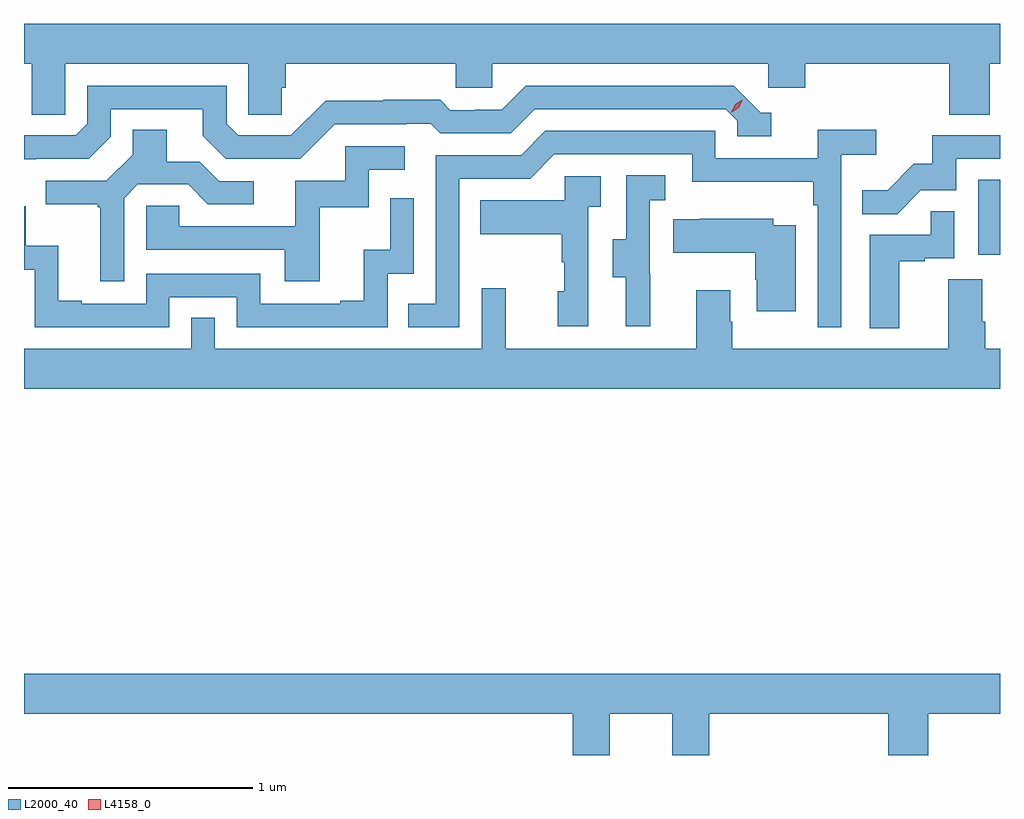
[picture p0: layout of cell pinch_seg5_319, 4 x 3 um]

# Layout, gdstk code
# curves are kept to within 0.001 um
import gdstk
lib = gdstk.Library(unit=1e-6, precision=1e-09)
def R(c, l, rs):  # rectangles x0, y0, x1, y1
    for r in rs: c.add(gdstk.rectangle(r[:2], r[2:], *l))
def P(c, l, *ps):  # polygons
    for p in ps: c.add(gdstk.Polygon(p, *l))
L2000_40 = (2000, 40)
L4158_0 = (4158, 0)

pinch_seg5_319 = lib.new_cell('pinch_seg5_319')
R(pinch_seg5_319, L2000_40, [(936.812,891.942,936.902,892.249)])
P(pinch_seg5_319, L2000_40, [(933.072,892.724),(933.822,892.724),(933.822,892.516),(933.959,892.516),(933.959,892.626),(933.974,892.626),(933.974,892.724),(934.671,892.724),(934.671,892.626),(934.821,892.626),(934.821,892.724),(935.952,892.724),(935.952,892.626),(936.104,892.626),(936.104,892.724),(936.695,892.724),(936.695,892.516),(936.86,892.516),(936.86,892.724),(936.902,892.724),(936.902,892.888),(932.902,892.888),(932.902,892.724),(932.933,892.724),(932.933,892.516),(933.072,892.516)],
  [(932.952,892.335),(933.168,892.335),(933.258,892.425),(933.258,892.539),(933.635,892.539),(933.635,892.429),(933.729,892.335),(934.035,892.335),(934.176,892.476),(934.469,892.476),(934.469,892.479),(934.568,892.479),(934.607,892.44),(934.896,892.44),(934.995,892.539),(935.778,892.539),(935.826,892.491),(935.826,892.428),(935.965,892.428),(935.965,892.524),(935.922,892.524),(935.811,892.635),(934.958,892.635),(934.859,892.536),(934.752,892.536),(934.752,892.533),(934.649,892.533),(934.607,892.576),(934.374,892.576),(934.374,892.573),(934.138,892.573),(933.996,892.431),(933.78,892.431),(933.732,892.479),(933.732,892.635),(933.162,892.635),(933.162,892.479),(933.114,892.431),(932.902,892.431),(932.902,892.334)],
  [(933.312,892.173),(933.369,892.23),(933.575,892.23),(933.656,892.149),(933.844,892.149),(933.844,892.242),(933.702,892.242),(933.622,892.322),(933.487,892.322),(933.487,892.454),(933.347,892.454),(933.347,892.352),(933.24,892.245),(932.991,892.245),(932.991,892.148),(933.204,892.148),(933.204,892.137),(933.215,892.137),(933.215,891.834),(933.312,891.834)],
  [(934.686,892.254),(934.977,892.254),(935.076,892.353),(935.64,892.353),(935.64,892.241),(936.136,892.241),(936.136,892.145),(936.156,892.145),(936.156,891.645),(936.252,891.645),(936.252,892.352),(936.394,892.352),(936.394,892.454),(936.155,892.454),(936.155,892.338),(935.736,892.338),(935.736,892.449),(935.039,892.449),(934.94,892.35),(934.59,892.35),(934.59,891.741),(934.477,891.741),(934.477,891.645),(934.686,891.645)],
  [(936.578,892.206),(936.723,892.206),(936.723,892.335),(936.902,892.335),(936.902,892.431),(936.625,892.431),(936.625,892.314),(936.548,892.314),(936.441,892.207),(936.337,892.207),(936.337,892.108),(936.48,892.108)],
  [(934.115,892.137),(934.314,892.137),(934.314,892.29),(934.462,892.29),(934.462,892.386),(934.218,892.386),(934.218,892.245),(934.013,892.245),(934.013,892.059),(933.539,892.059),(933.539,892.143),(933.402,892.143),(933.402,891.963),(933.971,891.963),(933.971,891.834),(934.115,891.834)],
  [(935.468,891.861),(935.466,891.861),(935.466,892.165),(935.53,892.165),(935.53,892.268),(935.37,892.268),(935.37,892.005),(935.315,892.005),(935.315,891.85),(935.369,891.85),(935.369,891.648),(935.468,891.648)],
  [(935.214,892.139),(935.266,892.139),(935.266,892.263),(935.118,892.263),(935.118,892.165),(934.771,892.165),(934.771,892.025),(935.106,892.025),(935.106,891.911),(935.116,891.911),(935.116,891.792),(935.09,891.792),(935.09,891.648),(935.214,891.648)],
  [(933.498,891.768),(933.774,891.768),(933.774,891.645),(934.392,891.645),(934.392,891.864),(934.5,891.864),(934.5,892.174),(934.404,892.174),(934.404,891.962),(934.295,891.962),(934.295,891.754),(934.199,891.754),(934.199,891.741),(933.87,891.741),(933.87,891.864),(933.402,891.864),(933.402,891.741),(933.139,891.741),(933.139,891.754),(933.043,891.754),(933.043,891.979),(932.91,891.979),(932.91,892.14),(932.902,892.14),(932.902,891.881),(932.946,891.881),(932.946,891.645),(933.498,891.645)],
  [(936.49,891.915),(936.593,891.915),(936.593,891.927),(936.714,891.927),(936.714,892.121),(936.619,892.121),(936.619,892.023),(936.368,892.023),(936.368,891.641),(936.49,891.641)],
  [(936.064,892.063),(935.973,892.063),(935.973,892.09),(935.671,892.09),(935.671,892.087),(935.563,892.087),(935.563,891.95),(935.899,891.95),(935.899,891.839),(935.906,891.839),(935.906,891.711),(936.064,891.711)],
  [(936.902,891.556),(936.842,891.556),(936.842,891.668),(936.829,891.668),(936.829,891.842),(936.689,891.842),(936.689,891.556),(935.805,891.556),(935.805,891.668),(935.797,891.668),(935.797,891.796),(935.657,891.796),(935.657,891.556),(934.877,891.556),(934.877,891.805),(934.779,891.805),(934.779,891.556),(933.684,891.556),(933.684,891.683),(933.588,891.683),(933.588,891.556),(932.902,891.556),(932.902,891.392),(936.902,891.392)],
  [(935.302,890.06),(935.558,890.06),(935.558,889.891),(935.711,889.891),(935.711,890.06),(936.443,890.06),(936.443,889.891),(936.608,889.891),(936.608,890.06),(936.902,890.06),(936.902,890.224),(932.902,890.224),(932.902,890.06),(935.15,890.06),(935.15,889.891),(935.302,889.891)])
P(pinch_seg5_319, L4158_0, [(935.801,892.525),(935.801,892.526),(935.817,892.558),(935.847,892.578),(935.848,892.578),(935.848,892.578),(935.832,892.545),(935.802,892.525)])

lib.write_gds('pinch_seg5_319.gds')
